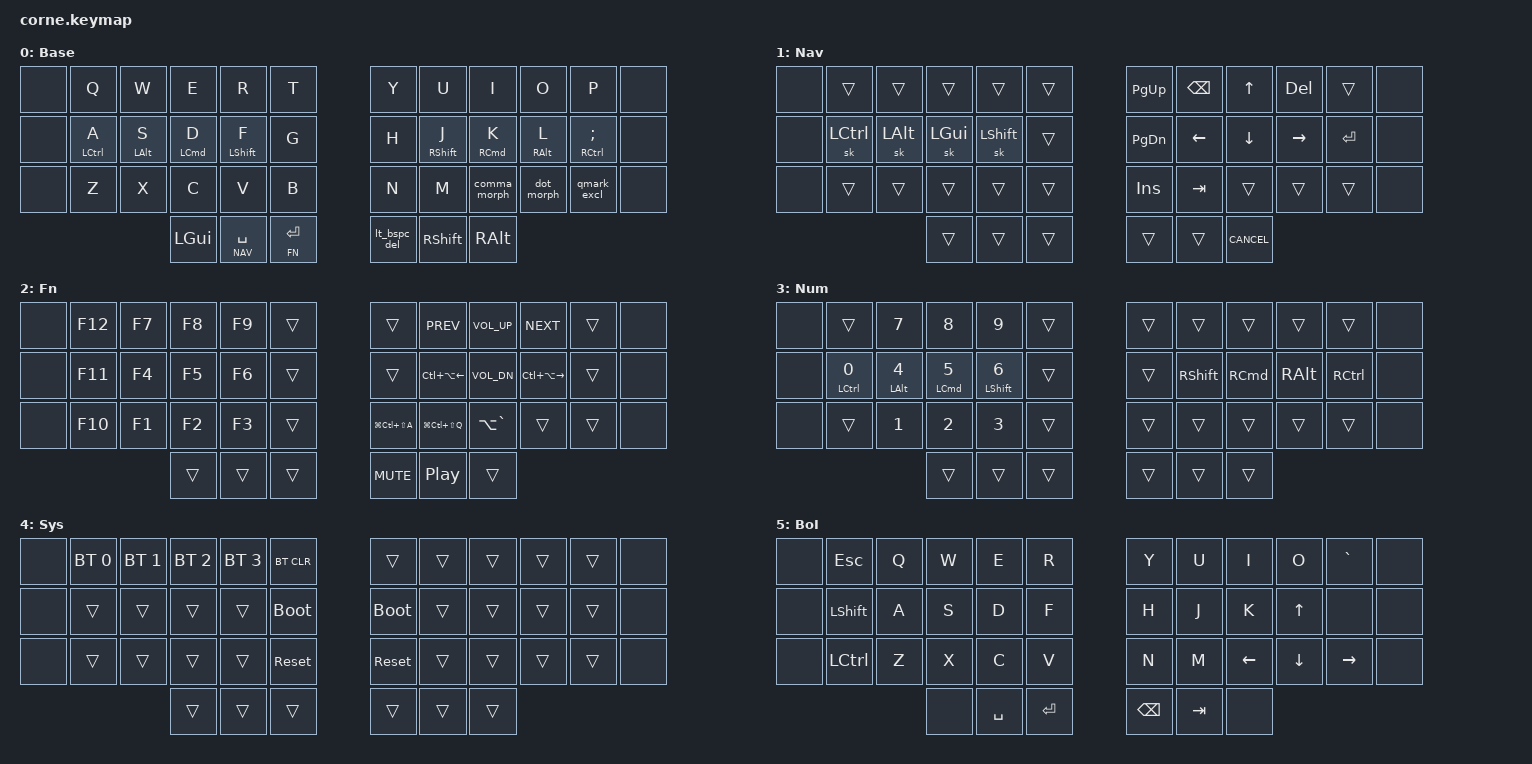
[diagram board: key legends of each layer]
/*
 * Copyright (c) 2020 The ZMK Contributors
 *
 * SPDX-License-Identifier: MIT
 */

#include <behaviors.dtsi>
#include <dt-bindings/zmk/bt.h>
#include <dt-bindings/zmk/keys.h>

/* ZMK helpers and key position labels for 36-key layout on 42-key matrix.
 * We use 36.h for named combo/HRM positions (inner 5 cols + thumbs).
 * The 6 outer pinky positions (0, 11, 12, 23, 24, 35) are always &none.
 * Note: 36.h positions are offset — LT4=0 in 36.h maps to physical position 1.
 * We use raw numbers for hold-trigger-key-positions to match the 42-key matrix.
 */
#include <zmk-helpers/helper.h>

/* Layer definitions */
#define DEF 0
#define NAV 1
#define FN  2
#define NUM 3
#define SYS 4
#define BOI 5

/* Shorthand */
#define XXX &none
#define ___ &trans

#define QUICK_TAP_MS 175

/* Aliases */
#define CANCEL   &kp K_CANCEL
/* Desktop switching: Ctrl+Alt+Left/Right (Xubuntu default; remap on macOS to match) */
#define DSK_PREV &kp LC(LA(LEFT))
#define DSK_NEXT &kp LC(LA(RIGHT))
/* macOS-only window manager shortcuts (Moom/Magnet); no-op on Linux unless configured */
#define PIN_WIN  &kp LG(LC(LS(Q)))
#define PIN_APP  &kp LG(LC(LS(A)))
#define DSK_MGR  &kp LA(GRAVE)

/* Global defaults */

&sk {
    release-after-ms = <900>;
    quick-release;
};

&sl {
    ignore-modifiers;
};

&lt {
    flavor = "balanced";
    tapping-term-ms = <200>;
    quick-tap-ms = <QUICK_TAP_MS>;
};

/* Homerow mods
 * 42-key matrix positions used directly (not 36.h labels):
 *  0   1   2   3   4   5  |  6   7   8   9  10  11
 * 12  13  14  15  16  17  | 18  19  20  21  22  23
 * 24  25  26  27  28  29  | 30  31  32  33  34  35
 *                36  37  38  | 39  40  41
 *
 * Inner 5 cols per side (the actual keys):
 * Left:  1-5, 13-17, 25-29   Right: 6-10, 18-22, 30-34
 * Thumbs: 36-38, 39-41
 */

/ {
    behaviors {
        hml: hml {
            compatible = "zmk,behavior-hold-tap";
            #binding-cells = <2>;
            bindings = <&kp>, <&kp>;
            flavor = "balanced";
            tapping-term-ms = <280>;
            quick-tap-ms = <QUICK_TAP_MS>;
            require-prior-idle-ms = <150>;
            hold-trigger-on-release;
            hold-trigger-key-positions = <
                6  7  8  9  10
                18 19 20 21 22
                30 31 32 33 34
                36 37 38 39 40 41
            >;
        };

        /* Hold-tap wrappers for HRM combos on right hand.
         * Tap: mod-morph behavior | Hold: combined modifier of the two HRM keys.
         * Trigger positions = left hand + thumbs (same as hmr).
         */
        hmr_lpar: hmr_lpar {
            compatible = "zmk,behavior-hold-tap";
            #binding-cells = <2>;
            bindings = <&kp>, <&lpar_lt>;
            flavor = "balanced";
            tapping-term-ms = <280>;
            quick-tap-ms = <QUICK_TAP_MS>;
            require-prior-idle-ms = <150>;
            hold-trigger-on-release;
            hold-trigger-key-positions = <
                1  2  3  4  5
                13 14 15 16 17
                25 26 27 28 29
                36 37 38 39 40 41
            >;
        };

        hmr_rpar: hmr_rpar {
            compatible = "zmk,behavior-hold-tap";
            #binding-cells = <2>;
            bindings = <&kp>, <&rpar_gt>;
            flavor = "balanced";
            tapping-term-ms = <280>;
            quick-tap-ms = <QUICK_TAP_MS>;
            require-prior-idle-ms = <150>;
            hold-trigger-on-release;
            hold-trigger-key-positions = <
                1  2  3  4  5
                13 14 15 16 17
                25 26 27 28 29
                36 37 38 39 40 41
            >;
        };

        hmr: hmr {
            compatible = "zmk,behavior-hold-tap";
            #binding-cells = <2>;
            bindings = <&kp>, <&kp>;
            flavor = "balanced";
            tapping-term-ms = <280>;
            quick-tap-ms = <QUICK_TAP_MS>;
            require-prior-idle-ms = <150>;
            hold-trigger-on-release;
            hold-trigger-key-positions = <
                1  2  3  4  5
                13 14 15 16 17
                25 26 27 28 29
                36 37 38 39 40 41
            >;
        };
    };
};

/ {
    combos {
        compatible = "zmk,combos";

        /* All combo positions use 42-key matrix numbers.
         * Row 0: _  1  2  3  4  5 |  6  7  8  9 10  _
         * Row 1: _ 13 14 15 16 17 | 18 19 20 21 22  _
         * Row 2: _ 25 26 27 28 29 | 30 31 32 33 34  _
         * Thumb:         36 37 38 | 39 40 41
         */

        /* Caps word: E + R */
        capwords {
            bindings = <&caps_word>;
            key-positions = <3 4>;
            layers = <DEF>;
            timeout-ms = <18>;
            require-prior-idle-ms = <150>;
        };

        /* Single quote: O + P */
        combo_sqt {
            bindings = <&kp SQT>;
            key-positions = <9 10>;
            layers = <DEF NAV NUM>;
            timeout-ms = <18>;
            require-prior-idle-ms = <150>;
        };

        /* Horizontal combos - left hand */
        combo_esc {
            bindings = <&kp ESC>;
            key-positions = <2 3>;
            layers = <DEF NAV NUM>;
            timeout-ms = <18>;
            require-prior-idle-ms = <150>;
        };

        combo_tab {
            bindings = <&hml LS(LALT) TAB>;
            key-positions = <14 15>;
            layers = <DEF NAV NUM>;
            timeout-ms = <18>;
            require-prior-idle-ms = <150>;
        };

        /* Ctrl+X/C/V: standard on Linux; also accepted by macOS Terminal, browsers, most apps */
        combo_cut {
            bindings = <&kp LC(X)>;
            key-positions = <26 28>;
            layers = <DEF NAV NUM>;
            timeout-ms = <18>;
            require-prior-idle-ms = <150>;
        };

        combo_copy {
            bindings = <&kp LC(C)>;
            key-positions = <26 27>;
            layers = <DEF NAV NUM>;
            timeout-ms = <18>;
            require-prior-idle-ms = <150>;
        };

        combo_paste {
            bindings = <&kp LC(V)>;
            key-positions = <27 28>;
            layers = <DEF NAV NUM>;
            timeout-ms = <18>;
            require-prior-idle-ms = <150>;
        };

        /* Horizontal combos - right hand */
        combo_bspc {
            bindings = <&kp BSPC>;
            key-positions = <7 8>;
            layers = <DEF NAV NUM>;
            timeout-ms = <18>;
            require-prior-idle-ms = <150>;
        };

        combo_del {
            bindings = <&kp DEL>;
            key-positions = <8 9>;
            layers = <DEF NAV NUM>;
            timeout-ms = <18>;
            require-prior-idle-ms = <150>;
        };

        /* Tap: ( | Shift: < | Hold: Shift+Cmd */
        combo_lpar {
            bindings = <&hmr_lpar RS(RGUI) 0>;
            key-positions = <19 20>;
            layers = <DEF NAV NUM>;
            timeout-ms = <18>;
            require-prior-idle-ms = <150>;
        };

        /* Tap: ) | Shift: > | Hold: Cmd+Alt */
        combo_rpar {
            bindings = <&hmr_rpar RG(RALT) 0>;
            key-positions = <20 21>;
            layers = <DEF NAV NUM>;
            timeout-ms = <18>;
            require-prior-idle-ms = <150>;
        };

        /* Tap: [ | Shift: { */
        combo_lbkt {
            bindings = <&lbkt_lbrc>;
            key-positions = <31 32>;
            layers = <DEF NAV NUM>;
            timeout-ms = <18>;
            require-prior-idle-ms = <150>;
        };

        /* Tap: ] | Shift: } */
        combo_rbkt {
            bindings = <&rbkt_rbrc>;
            key-positions = <32 33>;
            layers = <DEF NAV NUM>;
            timeout-ms = <18>;
            require-prior-idle-ms = <150>;
        };

        /* Vertical combos - left hand (symbols) */
        combo_at {
            bindings = <&kp AT>;
            key-positions = <2 14>;
            layers = <DEF NAV NUM>;
            timeout-ms = <30>;
            require-prior-idle-ms = <50>;
        };

        combo_hash {
            bindings = <&kp HASH>;
            key-positions = <3 15>;
            layers = <DEF NAV NUM>;
            timeout-ms = <30>;
            require-prior-idle-ms = <50>;
        };

        combo_dllr {
            bindings = <&kp DLLR>;
            key-positions = <4 16>;
            layers = <DEF NAV NUM>;
            timeout-ms = <30>;
            require-prior-idle-ms = <50>;
        };

        combo_prcnt {
            bindings = <&kp PRCNT>;
            key-positions = <5 17>;
            layers = <DEF NAV NUM>;
            timeout-ms = <30>;
            require-prior-idle-ms = <50>;
        };

        combo_grave {
            bindings = <&kp GRAVE>;
            key-positions = <14 26>;
            layers = <DEF NAV NUM>;
            timeout-ms = <30>;
            require-prior-idle-ms = <50>;
        };

        combo_bslh {
            bindings = <&kp BSLH>;
            key-positions = <15 27>;
            layers = <DEF NAV NUM>;
            timeout-ms = <30>;
            require-prior-idle-ms = <50>;
        };

        combo_equal {
            bindings = <&kp EQUAL>;
            key-positions = <16 28>;
            layers = <DEF NAV NUM>;
            timeout-ms = <30>;
            require-prior-idle-ms = <50>;
        };

        combo_tilde {
            bindings = <&kp TILDE>;
            key-positions = <17 29>;
            layers = <DEF NAV NUM>;
            timeout-ms = <30>;
            require-prior-idle-ms = <50>;
        };

        /* Vertical combos - right hand (operators) */
        combo_caret {
            bindings = <&kp CARET>;
            key-positions = <6 18>;
            layers = <DEF NAV NUM>;
            timeout-ms = <30>;
            require-prior-idle-ms = <50>;
        };

        combo_plus {
            bindings = <&kp PLUS>;
            key-positions = <7 19>;
            layers = <DEF NAV NUM>;
            timeout-ms = <30>;
            require-prior-idle-ms = <50>;
        };

        combo_star {
            bindings = <&kp STAR>;
            key-positions = <8 20>;
            layers = <DEF NAV NUM>;
            timeout-ms = <30>;
            require-prior-idle-ms = <50>;
        };

        combo_amps {
            bindings = <&kp AMPS>;
            key-positions = <9 21>;
            layers = <DEF NAV NUM>;
            timeout-ms = <30>;
            require-prior-idle-ms = <50>;
        };

        combo_under {
            bindings = <&kp UNDER>;
            key-positions = <18 30>;
            layers = <DEF NAV NUM>;
            timeout-ms = <30>;
            require-prior-idle-ms = <50>;
        };

        combo_minus {
            bindings = <&kp MINUS>;
            key-positions = <19 31>;
            layers = <DEF NAV NUM>;
            timeout-ms = <30>;
            require-prior-idle-ms = <50>;
        };

        combo_fslh {
            bindings = <&kp FSLH>;
            key-positions = <20 32>;
            layers = <DEF NAV NUM>;
            timeout-ms = <30>;
            require-prior-idle-ms = <50>;
        };

        combo_pipe {
            bindings = <&kp PIPE>;
            key-positions = <21 33>;
            layers = <DEF NAV NUM>;
            timeout-ms = <30>;
            require-prior-idle-ms = <50>;
        };

        /* Toggle Binding of Isaac layer: G + H */
        combo_boi {
            bindings = <&tog BOI>;
            key-positions = <5 18>;
            timeout-ms = <30>;
            require-prior-idle-ms = <50>;
        };
    };

    /* FN + NUM --> SYS (conditional layer) */
    conditional_layers {
        compatible = "zmk,conditional-layers";

        sys_layer {
            if-layers = <FN NUM>;
            then-layer = <SYS>;
        };
    };

    behaviors {
        /* Tap: backspace | Shift + tap: delete | Hold: NUM layer */
        lt_bspc_del: lt_bspc_del {
            compatible = "zmk,behavior-mod-morph";
            label = "LT_BSPC_DEL";
            bindings = <&lt NUM BACKSPACE>, <&kp DELETE>;
            #binding-cells = <0>;
            mods = <(MOD_LSFT|MOD_RSFT)>;
        };

        /* Tap: comma | Shift + tap: semicolon */
        comma_morph: comma_morph {
            compatible = "zmk,behavior-mod-morph";
            #binding-cells = <0>;
            bindings = <&kp COMMA>, <&kp SEMICOLON>;
            mods = <(MOD_LSFT|MOD_RSFT)>;
        };

        /* Tap: dot | Shift + tap: colon */
        dot_morph: dot_morph {
            compatible = "zmk,behavior-mod-morph";
            #binding-cells = <0>;
            bindings = <&kp DOT>, <&kp COLON>;
            mods = <(MOD_LSFT|MOD_RSFT)>;
        };

        /* Tap: question mark | Shift + tap: exclamation */
        qmark_excl: qmark_excl {
            compatible = "zmk,behavior-mod-morph";
            #binding-cells = <0>;
            bindings = <&kp QMARK>, <&kp EXCL>;
            mods = <(MOD_LSFT|MOD_RSFT)>;
        };

        /* Tap: ( | Shift + tap: < */
        lpar_lt: lpar_lt {
            compatible = "zmk,behavior-mod-morph";
            #binding-cells = <0>;
            bindings = <&kp LPAR>, <&kp LT>;
            mods = <(MOD_LSFT|MOD_RSFT)>;
        };

        /* Tap: ) | Shift + tap: > */
        rpar_gt: rpar_gt {
            compatible = "zmk,behavior-mod-morph";
            #binding-cells = <0>;
            bindings = <&kp RPAR>, <&kp GT>;
            mods = <(MOD_LSFT|MOD_RSFT)>;
        };

        /* Tap: [ | Shift + tap: { */
        lbkt_lbrc: lbkt_lbrc {
            compatible = "zmk,behavior-mod-morph";
            #binding-cells = <0>;
            bindings = <&kp LBKT>, <&kp LBRC>;
            mods = <(MOD_LSFT|MOD_RSFT)>;
        };

        /* Tap: ] | Shift + tap: } */
        rbkt_rbrc: rbkt_rbrc {
            compatible = "zmk,behavior-mod-morph";
            #binding-cells = <0>;
            bindings = <&kp RBKT>, <&kp RBRC>;
            mods = <(MOD_LSFT|MOD_RSFT)>;
        };
    };

    keymap {
        compatible = "zmk,keymap";

        /* Layer 0: Base (QWERTY) — 36-key layout on 42-key matrix
         * Outer pinky columns (pos 0,11,12,23,24,35) are &none
         *
         * ╭─────┬─────┬─────┬─────┬─────╮ ╭─────┬─────┬─────┬─────┬─────╮
         * │  Q  │  W  │  E  │  R  │  T  │ │  Y  │  U  │  I  │  O  │  P  │
         * │A/CTL│S/ALT│D/CMD│F/SFT│  G  │ │  H  │J/SFT│K/CMD│L/ALT│;/CTL│
         * │  Z  │  X  │  C  │  V  │  B  │ │  N  │  M  │ ,;  │ .:  │ ?!  │
         * ╰─────┴─────┼─────┼─────┼─────┤ ├─────┼─────┼─────┼─────┴─────╯
         *             │ GUI │SP/NV│RT/FN│ │BS/NM│RSHFT│RALT │
         *             ╰─────┴─────┴─────╯ ╰─────┴─────┴─────╯
         */
        base {
            display-name = "Base";
            bindings = <
XXX  &kp Q                &kp W            &kp E                &kp R              &kp T        &kp Y         &kp U               &kp I                 &kp O             &kp P                    XXX
XXX  &hml LEFT_CONTROL A  &hml LEFT_ALT S  &hml LEFT_COMMAND D  &hml LEFT_SHIFT F  &kp G        &kp H         &hmr RIGHT_SHIFT J  &hmr RIGHT_COMMAND K  &hmr RIGHT_ALT L  &hmr RIGHT_CONTROL SEMI  XXX
XXX  &kp Z                &kp X            &kp C                &kp V              &kp B        &kp N         &kp M               &comma_morph          &dot_morph        &qmark_excl              XXX
                                            &kp LGUI             &lt NAV SPACE      &lt FN RET   &lt_bspc_del  &kp RSHFT           &kp RALT
            >;
        };

        /* Layer 1: Navigation */
        nav {
            display-name = "Nav";
            bindings = <
XXX  ___       ___       ___       ___       ___    &kp PG_UP  &kp BSPC  &kp UP    &kp DEL    ___      XXX
XXX  &sk LCTRL &sk LALT  &sk LGUI  &sk LSHFT ___    &kp PG_DN  &kp LEFT  &kp DOWN  &kp RIGHT  &kp RET  XXX
XXX  ___       ___       ___       ___       ___    &kp INS    &kp TAB   ___       ___        ___      XXX
                          ___       ___       ___    ___        ___       CANCEL
            >;
        };

        /* Layer 2: Functions + Media */
        fn {
            display-name = "Fn";
            bindings = <
XXX  &kp F12  &kp F7  &kp F8  &kp F9  ___    ___         &kp C_PREV  &kp C_VOL_UP  &kp C_NEXT  ___  XXX
XXX  &kp F11  &kp F4  &kp F5  &kp F6  ___    ___         DSK_PREV    &kp C_VOL_DN  DSK_NEXT    ___  XXX
XXX  &kp F10  &kp F1  &kp F2  &kp F3  ___    PIN_APP     PIN_WIN     DSK_MGR       ___         ___  XXX
                       ___     ___     ___    &kp C_MUTE  &kp C_PP    ___
            >;
        };

        /* Layer 3: Numbers (numpad left hand) */
        num {
            display-name = "Num";
            bindings = <
XXX  ___                  &kp N7           &kp N8                &kp N9              ___    ___  ___              ___                ___            ___                XXX
XXX  &hml LEFT_CONTROL N0 &hml LEFT_ALT N4 &hml LEFT_COMMAND N5  &hml LEFT_SHIFT N6  ___    ___  &kp RIGHT_SHIFT  &kp RIGHT_COMMAND  &kp RIGHT_ALT  &kp RIGHT_CONTROL  XXX
XXX  ___                  &kp N1           &kp N2                &kp N3              ___    ___  ___              ___                ___            ___                XXX
                                            ___                   ___                 ___    ___  ___              ___
            >;
        };

        /* Layer 4: System (conditional: FN + NUM) */
        sys {
            display-name = "Sys";
            bindings = <
XXX  &bt BT_SEL 0  &bt BT_SEL 1  &bt BT_SEL 2  &bt BT_SEL 3  &bt BT_CLR      ___          ___  ___  ___  ___  XXX
XXX  ___           ___           ___           ___           &bootloader     &bootloader  ___  ___  ___  ___  XXX
XXX  ___           ___           ___           ___           &sys_reset      &sys_reset   ___  ___  ___  ___  XXX
                                 ___           ___           ___             ___          ___  ___
            >;
        };

        /* Layer 5: Binding of Isaac (toggle via G+H combo)
         * ╭─────┬─────┬─────┬─────┬─────╮ ╭─────┬─────┬─────┬─────┬─────╮
         * │ ESC │  Q  │  W  │  E  │  R  │ │  Y  │  U  │  I  │  O  │  `  │
         * │SHIFT│  A  │  S  │  D  │  F  │ │  H  │  J  │  K  │  ↑  │     │
         * │CTRL │  Z  │  X  │  C  │  V  │ │  N  │  M  │  ←  │  ↓  │  →  │
         * ╰─────┴─────┼─────┼─────┼─────┤ ├─────┼─────┼─────┼─────┴─────╯
         *                   │SPACE│ENTER│ │BSPC │ TAB │
         *                   ╰─────┴─────╯ ╰─────┴─────╯
         */
        boi {
            display-name = "BoI";
            bindings = <
XXX  &kp ESC    &kp Q  &kp W  &kp E      &kp R      &kp Y     &kp U    &kp I     &kp O      &kp GRAVE  XXX
XXX  &kp LSHFT  &kp A  &kp S  &kp D      &kp F      &kp H     &kp J    &kp K     &kp UP     XXX        XXX
XXX  &kp LCTRL  &kp Z  &kp X  &kp C      &kp V      &kp N     &kp M    &kp LEFT  &kp DOWN   &kp RIGHT  XXX
                        XXX     &kp SPACE  &kp RET    &kp BSPC  &kp TAB  XXX
            >;
        };

    };
};
